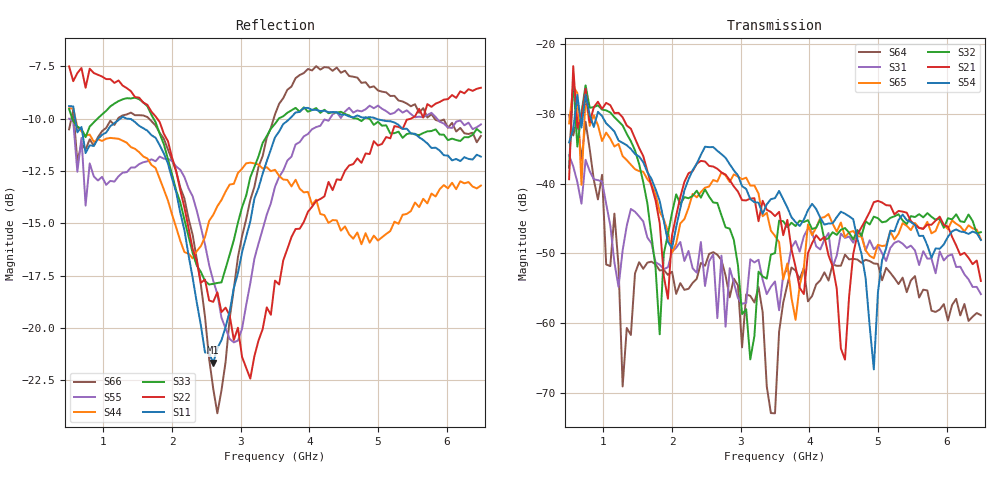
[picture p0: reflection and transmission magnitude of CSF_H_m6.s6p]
!Keysight Technologies,M9804A,MY58100912,A.14.10.03
!Date: Thursday, April 27, 2023 10:28:33
!Correction: S11(C  6-Port  )
!S12(C  6-Port  )
!S13(C  6-Port  )
!S14(C  6-Port  )
!S15(C  6-Port  )
!S16(C  6-Port  )
!S21(C  6-Port  )
!S22(C  6-Port  )
!S23(C  6-Port  )
!S24(C  6-Port  )
!S25(C  6-Port  )
!S26(C  6-Port  )
!S31(C  6-Port  )
!S32(C  6-Port  )
!S33(C  6-Port  )
!S34(C  6-Port  )
!S35(C  6-Port  )
!S36(C  6-Port  )
!S41(C  6-Port  )
!S42(C  6-Port  )
!S43(C  6-Port  )
!S44(C  6-Port  )
!S45(C  6-Port  )
!S46(C  6-Port  )
!S51(C  6-Port  )
!S52(C  6-Port  )
!S53(C  6-Port  )
!S54(C  6-Port  )
!S55(C  6-Port  )
!S56(C  6-Port  )
!S61(C  6-Port  )
!S62(C  6-Port  )
!S63(C  6-Port  )
!S64(C  6-Port  )
!S65(C  6-Port  )
!S66(C  6-Port  )
!S6P File: Measurement: :
# Hz S  RI  R 50
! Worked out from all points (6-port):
!   101 points, 500 MHz to 6.5 GHz, reference 50 ohm
!   strongest paths, dB at 500 MHz, 2 GHz, 3.5 GHz, 5 GHz, 6.5 GHz:
!     S54: -34.1, -49.3, -42.1, -55.6, -48.1
!     S21: -39.4, -47.4, -44.7, -42.5, -53.9
!     S32: -37.7, -44.2, -49.9, -45.0, -47.0
!     S65: -31.4, -49.9, -47.5, -48.8, -48.0
!     S31: -35.9, -49.8, -54.0, -48.9, -55.8
!     S64: -30.2, -52.6, -72.9, -51.5, -58.8
!   lowest |S11| = -21.7 dB at 2.6 GHz (marker M1), VSWR 1.18, Z = 42.6 + j1.98 ohm
!   |S11| at or under -10 dB: 588.3 MHz to 1.246 GHz (657.3 MHz wide, 71.7 % of centre); 1.344 GHz to 3.714 GHz (2.37 GHz wide, 93.7 % of centre); 4.973 GHz to end of sweep
